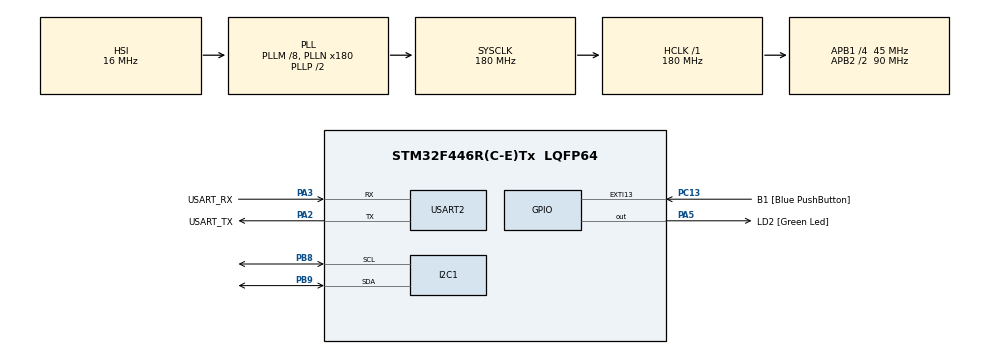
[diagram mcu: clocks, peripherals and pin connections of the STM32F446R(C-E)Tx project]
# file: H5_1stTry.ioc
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Dma.Request0=USART2_RX
Dma.Request1=USART2_TX
Dma.USART2_RX.0.Direction=DMA_PERIPH_TO_MEMORY
Dma.USART2_RX.0.FIFOMode=DMA_FIFOMODE_DISABLE
Dma.USART2_RX.0.Instance=DMA1_Stream5
Dma.USART2_RX.0.MemDataAlignment=DMA_MDATAALIGN_BYTE
Dma.USART2_RX.0.MemInc=DMA_MINC_ENABLE
Dma.USART2_RX.0.Mode=DMA_NORMAL
Dma.USART2_RX.0.PeriphDataAlignment=DMA_PDATAALIGN_BYTE
Dma.USART2_RX.0.PeriphInc=DMA_PINC_DISABLE
Dma.USART2_RX.0.Priority=DMA_PRIORITY_LOW
Dma.USART2_TX.1.Direction=DMA_MEMORY_TO_PERIPH
Dma.USART2_TX.1.FIFOMode=DMA_FIFOMODE_DISABLE
Dma.USART2_TX.1.Instance=DMA1_Stream6
Dma.USART2_TX.1.MemDataAlignment=DMA_MDATAALIGN_BYTE
Dma.USART2_TX.1.MemInc=DMA_MINC_ENABLE
Dma.USART2_TX.1.Mode=DMA_NORMAL
Dma.USART2_TX.1.PeriphDataAlignment=DMA_PDATAALIGN_BYTE
Dma.USART2_TX.1.PeriphInc=DMA_PINC_DISABLE
Dma.USART2_TX.1.Priority=DMA_PRIORITY_LOW
Mcu.Family=STM32F4
Mcu.Name=STM32F446R(C-E)Tx
Mcu.Package=LQFP64
NVIC.DMA1_Stream5_IRQn=true\:0\:0\:false\:false\:true\:false\:true\:true
NVIC.DMA1_Stream6_IRQn=true\:0\:0\:false\:false\:true\:false\:true\:true
NVIC.PriorityGroup=NVIC_PRIORITYGROUP_0
NVIC.USART2_IRQn=true\:0\:0\:false\:false\:true\:true\:true\:true
PA13.GPIO_Label=TMS
PA13.Mode=Serial_Wire
PA13.Signal=SYS_JTMS-SWDIO
PA14.GPIO_Label=TCK
PA14.Mode=Serial_Wire
PA14.Signal=SYS_JTCK-SWCLK
PA2.GPIO_Label=USART_TX
PA2.Mode=Asynchronous
PA2.Signal=USART2_TX
PA3.GPIO_Label=USART_RX
PA3.Mode=Asynchronous
PA3.Signal=USART2_RX
PA5.GPIO_Label=LD2 [Green Led]
PA5.Signal=GPIO_Output
PB3.GPIO_Label=SWO
PB3.Signal=SYS_JTDO-SWO
PB8.Mode=I2C
PB8.Signal=I2C1_SCL
PB9.Mode=I2C
PB9.Signal=I2C1_SDA
PC13.GPIO_Label=B1 [Blue PushButton]
PC13.GPIO_ModeDefaultEXTI=GPIO_MODE_IT_FALLING
PC13.Signal=GPXTI13
PC14-OSC32_IN.Mode=LSE-External-Oscillator
PC14-OSC32_IN.Signal=RCC_OSC32_IN
PC15-OSC32_OUT.Mode=LSE-External-Oscillator
PC15-OSC32_OUT.Signal=RCC_OSC32_OUT
PH0-OSC_IN.Mode=HSE-External-Oscillator
PH0-OSC_IN.Signal=RCC_OSC_IN
PH1-OSC_OUT.Mode=HSE-External-Oscillator
PH1-OSC_OUT.Signal=RCC_OSC_OUT
ProjectManager.HeapSize=0x800
ProjectManager.StackSize=0x800
ProjectManager.TargetToolchain=STM32CubeIDE
RCC.48MHZClocksFreq_Value=84000000
RCC.AHBFreq_Value=180000000
RCC.APB1CLKDivider=RCC_HCLK_DIV4
RCC.APB1Freq_Value=45000000
RCC.APB1TimFreq_Value=90000000
RCC.APB2CLKDivider=RCC_HCLK_DIV2
RCC.APB2Freq_Value=90000000
RCC.APB2TimFreq_Value=180000000
RCC.CortexFreq_Value=180000000
RCC.FLatency-AdvancedSettings=FLASH_LATENCY_5
RCC.HCLKFreq_Value=180000000
RCC.HSE_VALUE=8000000
RCC.HSI_VALUE=16000000
RCC.PLLM=8
RCC.PLLN=180
RCC.PLLP=2
RCC.SYSCLKFreq_VALUE=180000000
RCC.SYSCLKSource=RCC_SYSCLKSOURCE_PLLCLK
RCC.USBFreq_Value=180000000
RCC.VCOOutputFreq_Value=360000000
STMicroelectronics.X-CUBE-AI.8.1.0.ActivationBufferSizeList=14936
STMicroelectronics.X-CUBE-AI.8.1.0.ActivationBuffers=pool0
STMicroelectronics.X-CUBE-AI.8.1.0.ActivationNames=pool0
STMicroelectronics.X-CUBE-AI.8.1.0.ActivationSizes=AI_NETWORK_DATA_ACTIVATION_1_SIZE
STMicroelectronics.X-CUBE-AI.8.1.0.HeapSize=0x800
STMicroelectronics.X-CUBE-AI.8.1.0.InternalRamActivationBufferMaxSize=AI_NETWORK_DATA_ACTIVATIONS_SIZE
STMicroelectronics.X-CUBE-AI.8.1.0.LatestDirectoryUsed-639cbc19487d7855702fa227b66111593904de5fca1da0315621e49dbe26af2a=C\:\\Users\\rccrd\\Desktop
STMicroelectronics.X-CUBE-AI.8.1.0.MaximumNumberOfInputLayer=1
STMicroelectronics.X-CUBE-AI.8.1.0.MaximumNumberOfOutputLayer=1
STMicroelectronics.X-CUBE-AI.8.1.0.MaximumSizeOfInputLayer=1
STMicroelectronics.X-CUBE-AI.8.1.0.MaximumSizeOfOutputLayer=1
STMicroelectronics.X-CUBE-AI.8.1.0.ModelActualCompression-639cbc19487d7855702fa227b66111593904de5fca1da0315621e49dbe26af2a=0.0
STMicroelectronics.X-CUBE-AI.8.1.0.ModelCompression-639cbc19487d7855702fa227b66111593904de5fca1da0315621e49dbe26af2a=None
STMicroelectronics.X-CUBE-AI.8.1.0.ModelFlashOccupation-639cbc19487d7855702fa227b66111593904de5fca1da0315621e49dbe26af2a=246644
STMicroelectronics.X-CUBE-AI.8.1.0.ModelHashList=639cbc19487d7855702fa227b66111593904de5fca1da0315621e49dbe26af2a
STMicroelectronics.X-CUBE-AI.8.1.0.ModelKind-639cbc19487d7855702fa227b66111593904de5fca1da0315621e49dbe26af2a=KERAS
STMicroelectronics.X-CUBE-AI.8.1.0.ModelMacc-639cbc19487d7855702fa227b66111593904de5fca1da0315621e49dbe26af2a=897857
STMicroelectronics.X-CUBE-AI.8.1.0.ModelName-639cbc19487d7855702fa227b66111593904de5fca1da0315621e49dbe26af2a=network
STMicroelectronics.X-CUBE-AI.8.1.0.ModelNameList=network
STMicroelectronics.X-CUBE-AI.8.1.0.ModelRamOccupation-639cbc19487d7855702fa227b66111593904de5fca1da0315621e49dbe26af2a=14936
STMicroelectronics.X-CUBE-AI.8.1.0.ModelStructureFile-639cbc19487d7855702fa227b66111593904de5fca1da0315621e49dbe26af2a=/C\:/Users/rccrd/Desktop/lstm_small_batch_1.h5
STMicroelectronics.X-CUBE-AI.8.1.0.ModelType-639cbc19487d7855702fa227b66111593904de5fca1da0315621e49dbe26af2a=Saved model
STMicroelectronics.X-CUBE-AI.8.1.0.ReadyForCodeGeneration=true
STMicroelectronics.X-CUBE-AI.8.1.0.StackSize=0x800
STMicroelectronics.X-CUBE-AI.8.1.0.WorkingBufferStartAddrList=0xFFFFFFFF
STMicroelectronics.X-CUBE-AI.8.1.0.XAaCUBEAaAICcArtificialOoIntelligenceJjCore=true
STMicroelectronics.X-CUBE-AI.8.1.0.copyWeightToRam=false
STMicroelectronics.X-CUBE-AI.8.1.0.customLayerConfigEnabled=false
STMicroelectronics.X-CUBE-AI.8.1.0.noOnnxIoTranspose=false
STMicroelectronics.X-CUBE-AI.8.1.0.useInputAllocation=true
STMicroelectronics.X-CUBE-AI.8.1.0.useOutputAllocation=true
USART2.VirtualMode=VM_ASYNC
VP_CRC_VS_CRC.Mode=CRC_Activate
VP_STMicroelectronics.X-CUBE-AI_VS_ArtificialOoIntelligenceJjXAaCUBEAaAI_8.1.0.Mode=ArtificialOoIntelligenceJjXAaCUBEAaAI
board=NUCLEO-F446RE

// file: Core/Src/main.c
/* USER CODE BEGIN Header */
/**
  ******************************************************************************
  * @file           : main.c
  * @brief          : Main program body
  ******************************************************************************
  * @attention
  *
  * Copyright (c) 2023 STMicroelectronics.
  * All rights reserved.
  *
  * This software is licensed under terms that can be found in the LICENSE file
  * in the root directory of this software component.
  * If no LICENSE file comes with this software, it is provided AS-IS.
  *
  ******************************************************************************
  */
/* USER CODE END Header */
#include "main.h"

/* USER CODE BEGIN Includes */
#include "string.h"
#include "stdio.h"
#include <stdlib.h>
//AI INCLUDES
#include "ai_platform.h"
#include "network.h"
#include "network_data.h"

//LCD DEBUG
#include "liquidcrystal_i2c.h"
#include "time.h"
/* USER CODE END Includes */

CRC_HandleTypeDef hcrc;

I2C_HandleTypeDef hi2c1;

UART_HandleTypeDef huart2;
DMA_HandleTypeDef hdma_usart2_rx;
DMA_HandleTypeDef hdma_usart2_tx;

/* USER CODE BEGIN PV */
ai_handle network;
float aiInData[AI_NETWORK_IN_1_SIZE];
float aiOutData[AI_NETWORK_OUT_1_SIZE];
ai_u8 activations[AI_NETWORK_DATA_ACTIVATIONS_SIZE];

ai_buffer * ai_input;
ai_buffer * ai_output;

/* USER CODE END PV */

void SystemClock_Config(void);
static void MX_GPIO_Init(void);
static void MX_DMA_Init(void);
static void MX_CRC_Init(void);
static void MX_I2C1_Init(void);
static void MX_USART2_UART_Init(void);
/* USER CODE BEGIN PFP */

static void AI_Init(void);
static void AI_Run(float *pIn, float *pOut);
/* USER CODE END PFP */

/* USER CODE BEGIN 0 */
unsigned char rx_buffer[11];
uint16_t counter = 0;
uint8_t response[] = "OK\n";

void HAL_UARTEx_RxEventCallback(UART_HandleTypeDef *huart, uint16_t Size)
  {
	 if(huart -> Instance == USART2){
		 if(counter < 420 ){
		 		aiInData[counter] = atof((char *)rx_buffer);
		 		counter++;
		 		memset(rx_buffer, 0, sizeof(rx_buffer));
		 		HAL_UART_Transmit_DMA(&huart2, response, sizeof(response));
		 }

	 }
  }

void HAL_UART_TxCpltCallback(UART_HandleTypeDef *huart){
	HAL_UARTEx_ReceiveToIdle_DMA(&huart2, rx_buffer, 10);
	__HAL_DMA_DISABLE_IT(&hdma_usart2_rx, DMA_IT_HT);
}

/* USER CODE END 0 */

int main(void)
{

  /* MCU Configuration--------------------------------------------------------*/

  /* Reset of all peripherals, Initializes the Flash interface and the Systick. */
  HAL_Init();

  /* Configure the system clock */
  SystemClock_Config();

  /* Initialize all configured peripherals */
  MX_GPIO_Init();
  MX_DMA_Init();
  MX_CRC_Init();
  MX_I2C1_Init();
  MX_USART2_UART_Init();
  /* USER CODE BEGIN 2 */
  	  	HD44780_Init(2);
    	HD44780_Clear();
    	HD44780_SetCursor(0,0);
    	HD44780_PrintStr("Ready for Data");

      	//USART
      	HAL_UARTEx_ReceiveToIdle_DMA(&huart2, rx_buffer, sizeof(rx_buffer));
      	__HAL_DMA_DISABLE_IT(&hdma_usart2_rx, DMA_IT_HT);
      	//AI_INIT
      	AI_Init();
  /* USER CODE END 2 */

  /* Infinite loop */
  /* USER CODE BEGIN WHILE */
  while (1)
  {
	  /*DEBUG
	  	  char uint16String[10];
	  	  sprintf(uint16String, "%u", counter);
	  	  HD44780_Clear();
	  	  HD44780_SetCursor(0, 0);
	  	  HD44780_PrintStr(uint16String);
	  	  HAL_Delay(500);
	  	  DEBUG*/
	  	  if(counter ==  AI_NETWORK_IN_1_SIZE){
	  	  		  	HD44780_Clear();
	  	  		  	HD44780_SetCursor(0,0);
	  	  		  	HD44780_PrintStr("Inference");
	  	  	        printf("Running inference\r\n");
	  	  	        HAL_Delay(2000);

	  	  	        AI_Run(aiInData, aiOutData);
	  	  	        HD44780_Clear();
	  	  	        HD44780_SetCursor(0,0);

	  	  	        //OUTPUT PRINT ON LCD
	  	  	        char floatString[12];
	  	  	        snprintf(floatString, sizeof(floatString), "%f", aiOutData[0]);

	  	  	        HD44780_PrintStr(floatString);
	  	  	        HAL_Delay(2000);
	  	  	        counter = 0;
	  	  	  }
    /* USER CODE END WHILE */

  }
}

void SystemClock_Config(void)
{
  RCC_OscInitTypeDef RCC_OscInitStruct = {0};
  RCC_ClkInitTypeDef RCC_ClkInitStruct = {0};

  /** Configure the main internal regulator output voltage
  */
  __HAL_RCC_PWR_CLK_ENABLE();
  __HAL_PWR_VOLTAGESCALING_CONFIG(PWR_REGULATOR_VOLTAGE_SCALE1);

  /** Initializes the RCC Oscillators according to the specified parameters
  * in the RCC_OscInitTypeDef structure.
  */
  RCC_OscInitStruct.OscillatorType = RCC_OSCILLATORTYPE_HSI;
  RCC_OscInitStruct.HSIState = RCC_HSI_ON;
  RCC_OscInitStruct.HSICalibrationValue = RCC_HSICALIBRATION_DEFAULT;
  RCC_OscInitStruct.PLL.PLLState = RCC_PLL_ON;
  RCC_OscInitStruct.PLL.PLLSource = RCC_PLLSOURCE_HSI;
  RCC_OscInitStruct.PLL.PLLM = 8;
  RCC_OscInitStruct.PLL.PLLN = 180;
  RCC_OscInitStruct.PLL.PLLP = 2;
  RCC_OscInitStruct.PLL.PLLQ = 2;
  RCC_OscInitStruct.PLL.PLLR = 2;
  if (HAL_RCC_OscConfig(&RCC_OscInitStruct) != HAL_OK)
  {
    Error_Handler();
  }

  /** Activate the Over-Drive mode
  */
  if (HAL_PWREx_EnableOverDrive() != HAL_OK)
  {
    Error_Handler();
  }

  /** Initializes the CPU, AHB and APB buses clocks
  */
  RCC_ClkInitStruct.ClockType = RCC_CLOCKTYPE_HCLK|RCC_CLOCKTYPE_SYSCLK
                              |RCC_CLOCKTYPE_PCLK1|RCC_CLOCKTYPE_PCLK2;
  RCC_ClkInitStruct.SYSCLKSource = RCC_SYSCLKSOURCE_PLLCLK;
  RCC_ClkInitStruct.AHBCLKDivider = RCC_SYSCLK_DIV1;
  RCC_ClkInitStruct.APB1CLKDivider = RCC_HCLK_DIV4;
  RCC_ClkInitStruct.APB2CLKDivider = RCC_HCLK_DIV2;

  if (HAL_RCC_ClockConfig(&RCC_ClkInitStruct, FLASH_LATENCY_5) != HAL_OK)
  {
    Error_Handler();
  }
}

static void MX_CRC_Init(void)
{

  hcrc.Instance = CRC;
  if (HAL_CRC_Init(&hcrc) != HAL_OK)
  {
    Error_Handler();
  }

}

static void MX_I2C1_Init(void)
{

  hi2c1.Instance = I2C1;
  hi2c1.Init.ClockSpeed = 100000;
  hi2c1.Init.DutyCycle = I2C_DUTYCYCLE_2;
  hi2c1.Init.OwnAddress1 = 0;
  hi2c1.Init.AddressingMode = I2C_ADDRESSINGMODE_7BIT;
  hi2c1.Init.DualAddressMode = I2C_DUALADDRESS_DISABLE;
  hi2c1.Init.OwnAddress2 = 0;
  hi2c1.Init.GeneralCallMode = I2C_GENERALCALL_DISABLE;
  hi2c1.Init.NoStretchMode = I2C_NOSTRETCH_DISABLE;
  if (HAL_I2C_Init(&hi2c1) != HAL_OK)
  {
    Error_Handler();
  }

}

static void MX_USART2_UART_Init(void)
{

  huart2.Instance = USART2;
  huart2.Init.BaudRate = 115200;
  huart2.Init.WordLength = UART_WORDLENGTH_8B;
  huart2.Init.StopBits = UART_STOPBITS_1;
  huart2.Init.Parity = UART_PARITY_NONE;
  huart2.Init.Mode = UART_MODE_TX_RX;
  huart2.Init.HwFlowCtl = UART_HWCONTROL_NONE;
  huart2.Init.OverSampling = UART_OVERSAMPLING_16;
  if (HAL_UART_Init(&huart2) != HAL_OK)
  {
    Error_Handler();
  }

}

static void MX_DMA_Init(void)
{

  /* DMA controller clock enable */
  __HAL_RCC_DMA1_CLK_ENABLE();

  /* DMA interrupt init */
  /* DMA1_Stream5_IRQn interrupt configuration */
  HAL_NVIC_SetPriority(DMA1_Stream5_IRQn, 0, 0);
  HAL_NVIC_EnableIRQ(DMA1_Stream5_IRQn);
  /* DMA1_Stream6_IRQn interrupt configuration */
  HAL_NVIC_SetPriority(DMA1_Stream6_IRQn, 0, 0);
  HAL_NVIC_EnableIRQ(DMA1_Stream6_IRQn);

}

static void MX_GPIO_Init(void)
{
  GPIO_InitTypeDef GPIO_InitStruct = {0};

  /* GPIO Ports Clock Enable */
  __HAL_RCC_GPIOC_CLK_ENABLE();
  __HAL_RCC_GPIOH_CLK_ENABLE();
  __HAL_RCC_GPIOA_CLK_ENABLE();
  __HAL_RCC_GPIOB_CLK_ENABLE();

  /*Configure GPIO pin Output Level */
  HAL_GPIO_WritePin(LD2_GPIO_Port, LD2_Pin, GPIO_PIN_RESET);

  /*Configure GPIO pin : B1_Pin */
  GPIO_InitStruct.Pin = B1_Pin;
  GPIO_InitStruct.Mode = GPIO_MODE_IT_FALLING;
  GPIO_InitStruct.Pull = GPIO_NOPULL;
  HAL_GPIO_Init(B1_GPIO_Port, &GPIO_InitStruct);

  /*Configure GPIO pin : LD2_Pin */
  GPIO_InitStruct.Pin = LD2_Pin;
  GPIO_InitStruct.Mode = GPIO_MODE_OUTPUT_PP;
  GPIO_InitStruct.Pull = GPIO_NOPULL;
  GPIO_InitStruct.Speed = GPIO_SPEED_FREQ_LOW;
  HAL_GPIO_Init(LD2_GPIO_Port, &GPIO_InitStruct);

}

/* USER CODE BEGIN 4 */
static void AI_Init(void)
{
  ai_error err;

  /* Create a local array with the addresses of the activations buffers */
  const ai_handle act_addr[] = { activations };
  /* Create an instance of the model */
  err = ai_network_create_and_init(&network, act_addr, NULL);
  if (err.type != AI_ERROR_NONE) {
    printf("ai_network_create error - type=%d code=%d\r\n", err.type, err.code);
    Error_Handler();
  }
  ai_input = ai_network_inputs_get(network, NULL);
  ai_output = ai_network_outputs_get(network, NULL);
}

static void AI_Run(float *pIn, float *pOut)
{
  ai_i32 batch;
  ai_error err;

  /* Update IO handlers with the data payload */
  ai_input[0].data = AI_HANDLE_PTR(pIn);
  ai_output[0].data = AI_HANDLE_PTR(pOut);

  batch = ai_network_run(network, ai_input, ai_output);
  if (batch != 1) {
    err = ai_network_get_error(network);
    printf("AI ai_network_run error - type=%d code=%d\r\n", err.type, err.code);
    Error_Handler();
  }
}
/* USER CODE END 4 */

void Error_Handler(void)
{
  __disable_irq();
  while (1)
  {
  }
}
